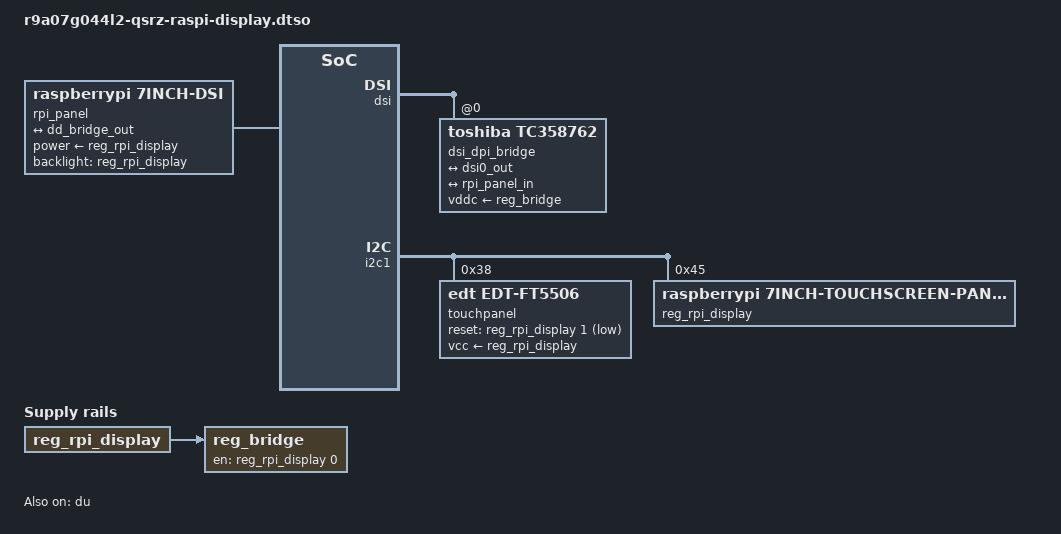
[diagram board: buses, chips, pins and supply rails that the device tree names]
// SPDX-License-Identifier: (GPL-2.0-only OR BSD-3-Clause)
/*
 * Copyright (C) 2023 Markus Bauer <MB@karo-electronics.com>
 */
/dts-v1/;
/plugin/;

#include <dt-bindings/gpio/gpio.h>

&{/} {
	rpi_panel: rpi-panel {
		compatible = "raspberrypi,7inch-dsi", "simple-panel";
		backlight = <&reg_rpi_display>;
		power-supply = <&reg_rpi_display>;
		default-on;
		status = "okay";

		port {
			rpi_panel_in: endpoint {
				remote-endpoint = <&dd_bridge_out>;
			};
		};
	};

	reg_bridge: reg-bridge {
		compatible = "regulator-fixed";
		regulator-name = "bridge_reg";
		gpio = <&reg_rpi_display 0 GPIO_ACTIVE_HIGH>;
		vin-supply = <&reg_rpi_display>;
		enable-active-high;
	};
};

&{/chosen} {
	overlays {
		qsrz-raspi-display;
	};
};

&dsi {
	#address-cells = <1>;
	#size-cells = <0>;
	status = "okay";

	dsi_dpi_bridge: tc358762@0 {
		compatible = "toshiba,tc358762";
		reg = <0>;
		vddc-supply = <&reg_bridge>;
		status = "okay";

		ports {
			#address-cells = <1>;
			#size-cells = <0>;

			port@0 {
				reg = <0>;
				dd_bridge_in: endpoint {
					remote-endpoint = <&dsi0_out>;
				};
			};

			port@1 {
				reg = <1>;
				dd_bridge_out: endpoint {
					remote-endpoint = <&rpi_panel_in>;
				};
			};
		};
	};
};

&dsi0_out {
	remote-endpoint = <&dd_bridge_in>;
	data-lanes = <1>;
};

&du {
	status = "okay";
};

&i2c1 {
	status = "okay";

	touchpanel@38 {
		compatible = "edt,edt-ft5506";
		reg = <0x38>;
		vcc-supply = <&reg_rpi_display>;
		reset-gpio = <&reg_rpi_display 1 GPIO_ACTIVE_LOW>;

		touchscreen-size-x = <800>;
		touchscreen-size-y = <480>;
		touchscreen-inverted-x;
		touchscreen-inverted-y;
	};

	reg_rpi_display: reg-rpi-display@45 {
		compatible = "raspberrypi,7inch-touchscreen-panel-regulator";
		reg = <0x45>;
		gpio-controller;
		#gpio-cells = <2>;
	};
};
